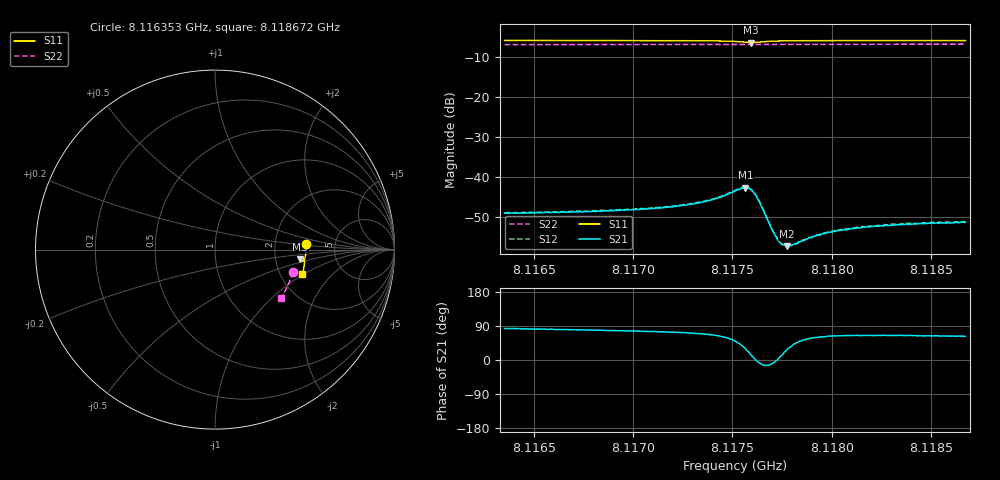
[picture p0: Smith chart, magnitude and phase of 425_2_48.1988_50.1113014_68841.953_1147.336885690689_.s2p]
#  HZ  S  RI  R  50.00
! Rohde & Schwarz Vector Network Analyzer
! Rohde-Schwarz,ZNB20-2Port,1311601062101988,3.16
! Created: UTC 3/20/2024, 11:55:06 AM
! freq[Hz]  re:S11  im:S11  re:S21  im:S21  re:S12  im:S12  re:S22  im:S22
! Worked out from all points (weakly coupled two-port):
!   401 points, 8.116353 GHz to 8.118672 GHz, reference 50 ohm
!   highest |S21| = -42.58 dB at 8.117565 GHz (marker M1); lowest = -57.2 dB at 8.117774 GHz (marker M2)
!   lowest |S11| = -6.4 dB at 8.117594 GHz (marker M3), VSWR 2.83, Z = 138 - j19.7 ohm
!   |S11| at or under -10 dB: nowhere
!   |S22| runs from -6.9 to -6.8 dB; largest |S21 - S12| = 0.00021
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8.1163531e9  0.5061 0.0321  0.000439 0.00353  0.000499 0.00363  0.4319 -0.1252
8.1167416e9  0.5066 0.00279  0.000678 0.00364  0.000717 0.00373  0.4247 -0.1512
8.11713e9  0.5048 -0.0279  0.0011 0.00398  0.00115 0.00405  0.4158 -0.1767
8.117275e9  0.503 -0.0403  0.00145 0.00433  0.00148 0.00437  0.4121 -0.1862
8.1173504e9  0.5013 -0.0474  0.00179 0.0046  0.00187 0.00464  0.41 -0.191
8.1174373e9  0.4975 -0.0563  0.00259 0.005  0.00267 0.00508  0.4075 -0.1968
8.1175127e9  0.4893 -0.0638  0.00434 0.00518  0.00446 0.00525  0.4049 -0.2016
8.1175649e9  0.4782 -0.0624  0.00645 0.00369  0.00663 0.00372  0.403 -0.2045
8.1175939e9  0.4748 -0.055  0.00679 0.00159  0.00693 0.00156  0.4021 -0.206
8.1176113e9  0.4764 -0.0502  0.00624 0.000345  0.00634 0.000323  0.4018 -0.2067
8.1176287e9  0.4801 -0.047  0.00527 -0.000486  0.00538 -0.000553  0.4015 -0.2078
8.1176983e9  0.4937 -0.0504  0.00222 -0.000397  0.00227 -0.000462  0.4001 -0.2122
8.1177215e9  0.4959 -0.0534  0.00178 -5.25e-05  0.00184 -8.71e-05  0.3994 -0.2137
8.1177388e9  0.4967 -0.0557  0.00154 0.000231  0.00154 0.000165  0.399 -0.2149
8.1177504e9  0.4974 -0.0572  0.00142 0.00034  0.00144 0.000329  0.3986 -0.2157
8.1177736e9  0.4981 -0.0599  0.00124 0.000624  0.00131 0.000624  0.3979 -0.2171
8.1178084e9  0.4987 -0.064  0.00108 0.000982  0.00109 0.000953  0.3969 -0.2196
8.1179012e9  0.4988 -0.0731  0.000954 0.00155  0.000956 0.00154  0.394 -0.2253
8.1179534e9  0.4985 -0.078  0.000959 0.00174  0.000966 0.00178  0.3924 -0.2285
8.1180577e9  0.4975 -0.0868  0.000951 0.00198  0.001 0.00205  0.3888 -0.2351
8.1182897e9  0.494 -0.1051  0.00106 0.00228  0.00112 0.00232  0.3806 -0.2492
8.1186724e9  0.487 -0.1334  0.00128 0.00243  0.0013 0.00251  0.3662 -0.2719
